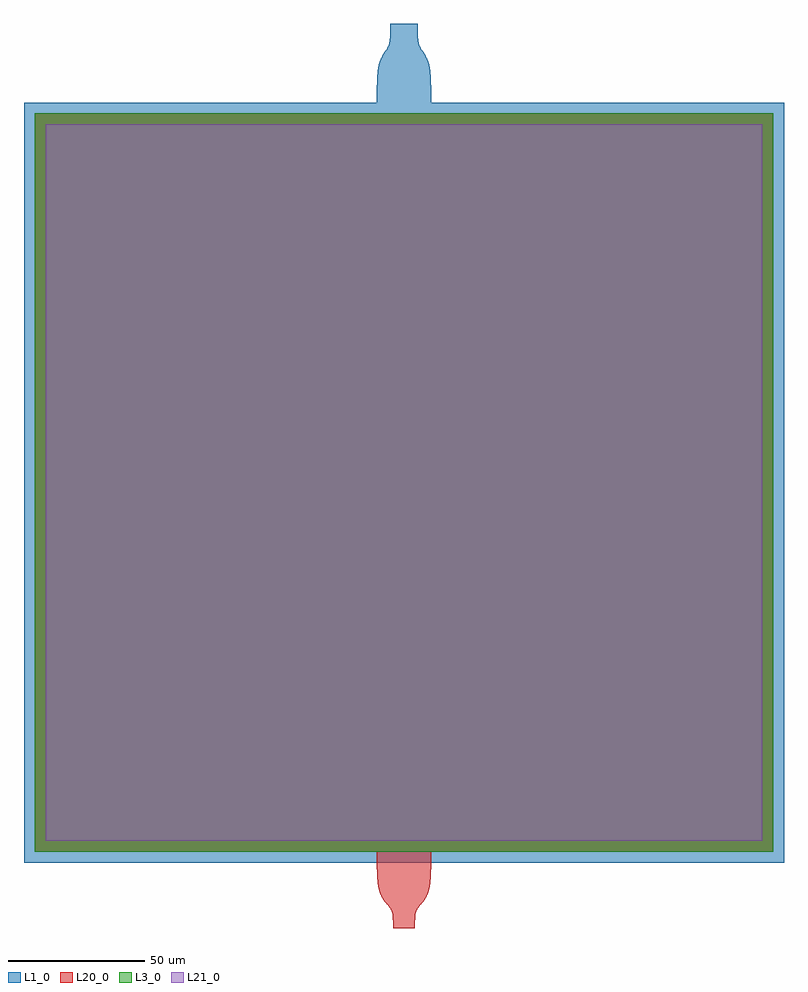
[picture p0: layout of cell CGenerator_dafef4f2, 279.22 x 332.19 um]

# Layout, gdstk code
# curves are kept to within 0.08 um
from math import pi, radians
import gdstk
lib = gdstk.Library(unit=1e-6, precision=1e-09)
def R(c, l, rs):  # rectangles x0, y0, x1, y1
    for r in rs: c.add(gdstk.rectangle(r[:2], r[2:], *l))
def P(c, l, *ps):  # polygons
    for p in ps: c.add(gdstk.Polygon(p, *l))
L1_0 = (1, 0)
L3_0 = (3, 0)
L20_0 = (20, 0)
L21_0 = (21, 0)

compass_d269dcdb = lib.new_cell('compass_d269dcdb')
R(compass_d269dcdb, L1_0, [(-139.608,-139.608,139.608,139.608)])

rectangle_d269dcdb = lib.new_cell('rectangle_d269dcdb')
rectangle_d269dcdb.add(gdstk.Reference(compass_d269dcdb, (139.608,139.608)))

optimal_step_32fd2621 = lib.new_cell('optimal_step_32fd2621')
P(optimal_step_32fd2621, L1_0, [(-7.881,5),(-2.921,5.113),(-0.586,5.477),(0.873,6.078),(3.499,7.741),(4.958,8.502),(6.417,9.034),(8.168,9.438),(12.837,9.87),(21.007,10),(21.007,-10),(12.837,-9.87),(8.168,-9.438),(6.417,-9.034),(4.958,-8.502),(3.499,-7.741),(0.873,-6.078),(-0.586,-5.477),(-2.921,-5.113),(-7.881,-5)])

optimal_step_rotate_2e3b = lib.new_cell('optimal_step_rotate_2e3b1dfc')
optimal_step_rotate_2e3b.add(gdstk.Reference(optimal_step_32fd2621, (0,0), rotation=3*pi/2))

compass_75f379bb = lib.new_cell('compass_75f379bb')
R(compass_75f379bb, L20_0, [(-135.608,-135.608,135.608,135.608)])

rectangle_75f379bb = lib.new_cell('rectangle_75f379bb')
rectangle_75f379bb.add(gdstk.Reference(compass_75f379bb, (135.608,135.608)))

compass_eecb2b03 = lib.new_cell('compass_eecb2b03')
R(compass_eecb2b03, L3_0, [(-135.608,-135.608,135.608,135.608)])

rectangle_eecb2b03 = lib.new_cell('rectangle_eecb2b03')
rectangle_eecb2b03.add(gdstk.Reference(compass_eecb2b03, (135.608,135.608)))

optimal_step_4769d319 = lib.new_cell('optimal_step_4769d319')
P(optimal_step_4769d319, L20_0, [(-6.406,4),(-2.15,4.113),(-0.164,4.521),(0.971,5.133),(3.524,7.205),(4.659,7.973),(6.361,8.785),(8.064,9.283),(10.333,9.647),(12.887,9.842),(21.682,10),(21.682,-10),(12.887,-9.842),(10.333,-9.647),(8.064,-9.283),(6.361,-8.785),(4.659,-7.973),(3.524,-7.205),(0.971,-5.133),(-0.164,-4.521),(-2.15,-4.113),(-6.406,-4)])

optimal_step_rotate_8ca5 = lib.new_cell('optimal_step_rotate_8ca5548f')
optimal_step_rotate_8ca5.add(gdstk.Reference(optimal_step_4769d319, (0,0), rotation=pi/2))

compass_f74ddc70 = lib.new_cell('compass_f74ddc70')
R(compass_f74ddc70, L21_0, [(-131.608,-131.608,131.608,131.608)])

rectangle_f74ddc70 = lib.new_cell('rectangle_f74ddc70')
rectangle_f74ddc70.add(gdstk.Reference(compass_f74ddc70, (131.608,131.608)))

cgenerator_dafef4f2 = lib.new_cell('CGenerator_dafef4f2')
cgenerator_dafef4f2.add(gdstk.Reference(rectangle_d269dcdb, (0,0)))
cgenerator_dafef4f2.add(gdstk.Reference(optimal_step_rotate_2e3b, (139.608,300.223)))
cgenerator_dafef4f2.add(gdstk.Reference(rectangle_75f379bb, (4,4)))
cgenerator_dafef4f2.add(gdstk.Reference(rectangle_eecb2b03, (4,4)))
cgenerator_dafef4f2.add(gdstk.Reference(optimal_step_rotate_8ca5, (139.608,-17.682)))
cgenerator_dafef4f2.add(gdstk.Reference(rectangle_f74ddc70, (8,8)))

lib.write_gds('CGenerator_dafef4f2.gds')
